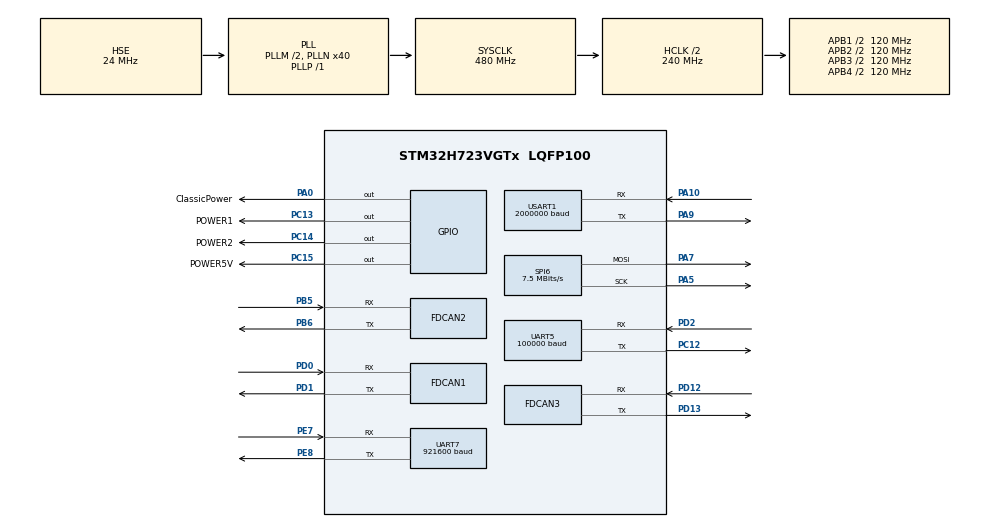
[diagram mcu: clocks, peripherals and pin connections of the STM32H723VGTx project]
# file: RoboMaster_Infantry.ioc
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CORTEX_M7.CPU_DCache=Enabled
CORTEX_M7.CPU_ICache=Enabled
CORTEX_M7.MPU_Control=MPU_HFNMI_PRIVDEF_NONE
CORTEX_M7.default_mode_Activation=1
Dma.Request0=USART1_RX
Dma.Request1=USART1_TX
Dma.Request4=UART5_RX
Dma.Request5=UART7_RX
Dma.UART5_RX.4.Direction=DMA_PERIPH_TO_MEMORY
Dma.UART5_RX.4.EventEnable=DISABLE
Dma.UART5_RX.4.FIFOMode=DMA_FIFOMODE_DISABLE
Dma.UART5_RX.4.Instance=DMA1_Stream0
Dma.UART5_RX.4.MemDataAlignment=DMA_MDATAALIGN_BYTE
Dma.UART5_RX.4.MemInc=DMA_MINC_ENABLE
Dma.UART5_RX.4.Mode=DMA_NORMAL
Dma.UART5_RX.4.PeriphDataAlignment=DMA_PDATAALIGN_BYTE
Dma.UART5_RX.4.PeriphInc=DMA_PINC_DISABLE
Dma.UART5_RX.4.Polarity=HAL_DMAMUX_REQ_GEN_RISING
Dma.UART5_RX.4.Priority=DMA_PRIORITY_LOW
Dma.UART5_RX.4.RequestNumber=1
Dma.UART5_RX.4.SignalID=NONE
Dma.UART5_RX.4.SyncEnable=DISABLE
Dma.UART5_RX.4.SyncPolarity=HAL_DMAMUX_SYNC_NO_EVENT
Dma.UART5_RX.4.SyncRequestNumber=1
Dma.UART5_RX.4.SyncSignalID=NONE
Dma.UART7_RX.5.Direction=DMA_PERIPH_TO_MEMORY
Dma.UART7_RX.5.EventEnable=DISABLE
Dma.UART7_RX.5.FIFOMode=DMA_FIFOMODE_DISABLE
Dma.UART7_RX.5.Instance=DMA1_Stream1
Dma.UART7_RX.5.MemDataAlignment=DMA_MDATAALIGN_BYTE
Dma.UART7_RX.5.MemInc=DMA_MINC_ENABLE
Dma.UART7_RX.5.Mode=DMA_NORMAL
Dma.UART7_RX.5.PeriphDataAlignment=DMA_PDATAALIGN_BYTE
Dma.UART7_RX.5.PeriphInc=DMA_PINC_DISABLE
Dma.UART7_RX.5.Polarity=HAL_DMAMUX_REQ_GEN_RISING
Dma.UART7_RX.5.Priority=DMA_PRIORITY_LOW
Dma.UART7_RX.5.RequestNumber=1
Dma.UART7_RX.5.SignalID=NONE
Dma.UART7_RX.5.SyncEnable=DISABLE
Dma.UART7_RX.5.SyncPolarity=HAL_DMAMUX_SYNC_NO_EVENT
Dma.UART7_RX.5.SyncRequestNumber=1
Dma.UART7_RX.5.SyncSignalID=NONE
Dma.USART1_RX.0.Direction=DMA_PERIPH_TO_MEMORY
Dma.USART1_RX.0.EventEnable=DISABLE
Dma.USART1_RX.0.FIFOMode=DMA_FIFOMODE_DISABLE
Dma.USART1_RX.0.Instance=DMA1_Stream3
Dma.USART1_RX.0.MemDataAlignment=DMA_MDATAALIGN_BYTE
Dma.USART1_RX.0.MemInc=DMA_MINC_ENABLE
Dma.USART1_RX.0.Mode=DMA_NORMAL
Dma.USART1_RX.0.PeriphDataAlignment=DMA_PDATAALIGN_BYTE
Dma.USART1_RX.0.PeriphInc=DMA_PINC_DISABLE
Dma.USART1_RX.0.Polarity=HAL_DMAMUX_REQ_GEN_RISING
Dma.USART1_RX.0.Priority=DMA_PRIORITY_LOW
Dma.USART1_RX.0.RequestNumber=1
Dma.USART1_RX.0.SignalID=NONE
Dma.USART1_RX.0.SyncEnable=DISABLE
Dma.USART1_RX.0.SyncPolarity=HAL_DMAMUX_SYNC_NO_EVENT
Dma.USART1_RX.0.SyncRequestNumber=1
Dma.USART1_RX.0.SyncSignalID=NONE
Dma.USART1_TX.1.Direction=DMA_MEMORY_TO_PERIPH
Dma.USART1_TX.1.EventEnable=DISABLE
Dma.USART1_TX.1.FIFOMode=DMA_FIFOMODE_DISABLE
Dma.USART1_TX.1.Instance=DMA1_Stream4
Dma.USART1_TX.1.MemDataAlignment=DMA_MDATAALIGN_BYTE
Dma.USART1_TX.1.MemInc=DMA_MINC_ENABLE
Dma.USART1_TX.1.Mode=DMA_NORMAL
Dma.USART1_TX.1.PeriphDataAlignment=DMA_PDATAALIGN_BYTE
Dma.USART1_TX.1.PeriphInc=DMA_PINC_DISABLE
Dma.USART1_TX.1.Polarity=HAL_DMAMUX_REQ_GEN_RISING
Dma.USART1_TX.1.Priority=DMA_PRIORITY_LOW
Dma.USART1_TX.1.RequestNumber=1
Dma.USART1_TX.1.SignalID=NONE
Dma.USART1_TX.1.SyncEnable=DISABLE
Dma.USART1_TX.1.SyncPolarity=HAL_DMAMUX_SYNC_NO_EVENT
Dma.USART1_TX.1.SyncRequestNumber=1
Dma.USART1_TX.1.SyncSignalID=NONE
FDCAN1.AutoRetransmission=DISABLE
FDCAN1.CalculateBaudRateNominal=1000000
FDCAN1.CalculateTimeBitNominal=1000
FDCAN1.CalculateTimeQuantumNominal=12.5
FDCAN1.DataPrescaler=1
FDCAN1.DataSyncJumpWidth=3
FDCAN1.DataTimeSeg1=12
FDCAN1.DataTimeSeg2=3
FDCAN1.ExtFiltersNbr=0
FDCAN1.FrameFormat=FDCAN_FRAME_FD_BRS
FDCAN1.MessageRAMOffset=0
FDCAN1.NominalPrescaler=1
FDCAN1.NominalSyncJumpWidth=20
FDCAN1.NominalTimeSeg1=59
FDCAN1.NominalTimeSeg2=20
FDCAN1.ProtocolException=ENABLE
FDCAN1.RxBuffersNbr=0
FDCAN1.RxFifo0ElmtsNbr=40
FDCAN1.RxFifo1ElmtsNbr=0
FDCAN1.StdFiltersNbr=1
FDCAN1.TxBuffersNbr=0
FDCAN1.TxEventsNbr=40
FDCAN1.TxFifoQueueElmtsNbr=40
FDCAN2.AutoRetransmission=ENABLE
FDCAN2.CalculateBaudRateNominal=1000000
FDCAN2.CalculateTimeBitNominal=1000
FDCAN2.CalculateTimeQuantumNominal=12.5
FDCAN2.DataPrescaler=1
FDCAN2.DataSyncJumpWidth=3
FDCAN2.DataTimeSeg1=12
FDCAN2.DataTimeSeg2=3
FDCAN2.ExtFiltersNbr=0
FDCAN2.FrameFormat=FDCAN_FRAME_FD_BRS
FDCAN2.MessageRAMOffset=720
FDCAN2.NominalPrescaler=1
FDCAN2.NominalSyncJumpWidth=20
FDCAN2.NominalTimeSeg1=59
FDCAN2.NominalTimeSeg2=20
FDCAN2.ProtocolException=ENABLE
FDCAN2.RxBuffersNbr=0
FDCAN2.RxFifo0ElmtsNbr=20
FDCAN2.RxFifo1ElmtsNbr=20
FDCAN2.StdFiltersNbr=3
FDCAN2.TxBuffersNbr=0
FDCAN2.TxEventsNbr=40
FDCAN2.TxFifoQueueElmtsNbr=40
FDCAN3.AutoRetransmission=DISABLE
FDCAN3.CalculateBaudRateNominal=1000000
FDCAN3.CalculateTimeBitNominal=1000
FDCAN3.CalculateTimeQuantumNominal=12.5
FDCAN3.DataPrescaler=1
FDCAN3.DataSyncJumpWidth=3
FDCAN3.DataTimeSeg1=12
FDCAN3.DataTimeSeg2=3
FDCAN3.ExtFiltersNbr=4
FDCAN3.FrameFormat=FDCAN_FRAME_FD_BRS
FDCAN3.MessageRAMOffset=1440
FDCAN3.NominalPrescaler=1
FDCAN3.NominalSyncJumpWidth=20
FDCAN3.NominalTimeSeg1=59
FDCAN3.NominalTimeSeg2=20
FDCAN3.ProtocolException=DISABLE
FDCAN3.RxBuffersNbr=2
FDCAN3.RxFifo0ElmtsNbr=8
FDCAN3.RxFifo1ElmtsNbr=8
FDCAN3.StdFiltersNbr=4
FDCAN3.TxBuffersNbr=8
FDCAN3.TxEventsNbr=8
FDCAN3.TxFifoQueueElmtsNbr=8
FREERTOS.Tasks01=Default,47,128,Defalut_Task,As weak,NULL,Dynamic,NULL,NULL
FREERTOS.configENABLE_FPU=1
FREERTOS.configTOTAL_HEAP_SIZE=40960
Mcu.Family=STM32H7
Mcu.Name=STM32H723VGTx
Mcu.Package=LQFP100
NVIC.DMA1_Stream0_IRQn=true\:5\:0\:false\:false\:true\:true\:false\:true\:true
NVIC.DMA1_Stream1_IRQn=true\:5\:0\:false\:false\:true\:true\:false\:true\:true
NVIC.DMA1_Stream3_IRQn=true\:5\:0\:false\:false\:true\:true\:false\:true\:true
NVIC.DMA1_Stream4_IRQn=true\:5\:0\:false\:false\:true\:false\:false\:true\:true
NVIC.FDCAN1_IT0_IRQn=true\:5\:0\:false\:false\:true\:true\:true\:true\:true
NVIC.FDCAN1_IT1_IRQn=true\:5\:0\:false\:false\:true\:true\:true\:true\:true
NVIC.FDCAN2_IT0_IRQn=true\:5\:0\:false\:false\:true\:true\:true\:true\:true
NVIC.FDCAN2_IT1_IRQn=true\:5\:0\:false\:false\:true\:true\:true\:true\:true
NVIC.FDCAN3_IT0_IRQn=true\:5\:0\:false\:false\:true\:true\:true\:true\:true
NVIC.FDCAN3_IT1_IRQn=true\:5\:0\:false\:false\:true\:true\:true\:true\:true
NVIC.FDCAN_CAL_IRQn=true\:5\:0\:false\:false\:true\:true\:true\:true\:true
NVIC.PriorityGroup=NVIC_PRIORITYGROUP_4
NVIC.TIM2_IRQn=true\:15\:0\:false\:false\:true\:false\:false\:true\:true
NVIC.TimeBase=TIM2_IRQn
NVIC.TimeBaseIP=TIM2
NVIC.UART5_IRQn=true\:5\:0\:false\:false\:true\:true\:true\:true\:true
NVIC.UART7_IRQn=true\:5\:0\:false\:false\:true\:true\:true\:true\:true
NVIC.USART1_IRQn=true\:5\:0\:false\:false\:true\:true\:false\:true\:true
PA0.GPIO_Label=ClassicPower
PA0.Signal=GPIO_Output
PA10.Mode=Asynchronous
PA10.Signal=USART1_RX
PA13(JTMS/SWDIO).Mode=Serial_Wire
PA13(JTMS/SWDIO).Signal=DEBUG_JTMS-SWDIO
PA14(JTCK/SWCLK).Mode=Serial_Wire
PA14(JTCK/SWCLK).Signal=DEBUG_JTCK-SWCLK
PA5.Mode=TX_Only_Simplex_Unidirect_Master
PA5.Signal=SPI6_SCK
PA7.Mode=TX_Only_Simplex_Unidirect_Master
PA7.Signal=SPI6_MOSI
PA9.Mode=Asynchronous
PA9.Signal=USART1_TX
PB13.GPIO_Speed=GPIO_SPEED_FREQ_VERY_HIGH
PB5.Mode=FDCAN_Activate
PB5.Signal=FDCAN2_RX
PB6.Mode=FDCAN_Activate
PB6.Signal=FDCAN2_TX
PC12.Mode=Asynchronous
PC12.Signal=UART5_TX
PC13.GPIO_Label=POWER1
PC13.PinState=GPIO_PIN_SET
PC13.Signal=GPIO_Output
PC14-OSC32_IN.GPIO_Label=POWER2
PC14-OSC32_IN.PinState=GPIO_PIN_SET
PC14-OSC32_IN.Signal=GPIO_Output
PC15-OSC32_OUT.GPIO_Label=POWER5V
PC15-OSC32_OUT.PinState=GPIO_PIN_SET
PC15-OSC32_OUT.Signal=GPIO_Output
PD0.Mode=FDCAN_Activate
PD0.Signal=FDCAN1_RX
PD1.Mode=FDCAN_Activate
PD1.Signal=FDCAN1_TX
PD12.Mode=FDCAN_Activate
PD12.Signal=FDCAN3_RX
PD13.Mode=FDCAN_Activate
PD13.Signal=FDCAN3_TX
PD2.GPIO_ModeDefaultPP=GPIO_MODE_AF_PP
PD2.GPIO_PuPd=GPIO_NOPULL
PD2.GPIO_Speed=GPIO_SPEED_FREQ_LOW
PD2.Mode=Asynchronous
PD2.Signal=UART5_RX
PE2.Signal=USART10_RX
PE3.Signal=USART10_TX
PE7.Mode=Asynchronous
PE7.Signal=UART7_RX
PE8.Mode=Asynchronous
PE8.Signal=UART7_TX
PH0-OSC_IN.Mode=HSE-External-Oscillator
PH0-OSC_IN.Signal=RCC_OSC_IN
PH1-OSC_OUT.Mode=HSE-External-Oscillator
PH1-OSC_OUT.Signal=RCC_OSC_OUT
ProjectManager.HeapSize=0x200
ProjectManager.StackSize=0x400
ProjectManager.TargetToolchain=CMake
RCC.ADCFreq_Value=480000000
RCC.APB1Freq_Value=120000000
RCC.APB2Freq_Value=120000000
RCC.APB3Freq_Value=120000000
RCC.APB4Freq_Value=120000000
RCC.CortexFreq_Value=480000000
RCC.D1PPRE=RCC_APB3_DIV2
RCC.D2PPRE1=RCC_APB1_DIV2
RCC.D2PPRE2=RCC_APB2_DIV2
RCC.D3PPRE=RCC_APB4_DIV2
RCC.DIVM1=2
RCC.DIVM2=2
RCC.DIVM3=2
RCC.DIVN1=40
RCC.DIVN2=40
RCC.DIVN3=40
RCC.DIVP1=1
RCC.DIVP2=1
RCC.DIVP3=1
RCC.DIVQ2=6
RCC.DIVQ3=6
RCC.FDCANCLockSelection=RCC_FDCANCLKSOURCE_PLL2
RCC.HCLKFreq_Value=240000000
RCC.HPRE=RCC_HCLK_DIV2
RCC.HSE_VALUE=24000000
RCC.PLLFRACN=0
RCC.PLLSourceVirtual=RCC_PLLSOURCE_HSE
RCC.SYSCLKFreq_VALUE=480000000
RCC.SYSCLKSource=RCC_SYSCLKSOURCE_PLLCLK
RCC.USBFreq_Value=240000000
SPI6.BaudRatePrescaler=SPI_BAUDRATEPRESCALER_16
SPI6.CLKPhase=SPI_PHASE_2EDGE
SPI6.CalculateBaudRate=7.5 MBits/s
SPI6.DataSize=SPI_DATASIZE_8BIT
SPI6.Direction=SPI_DIRECTION_2LINES_TXONLY
SPI6.Mode=SPI_MODE_MASTER
SPI6.VirtualType=VM_MASTER
TIM5.Prescaler=240-1
UART5.BaudRate=100000
UART5.Parity=PARITY_EVEN
UART5.StopBits=UART_STOPBITS_2
UART5.WordLength=WORDLENGTH_9B
UART7.BaudRate=921600
USART1.BaudRate=2000000
USART1.VirtualMode-Asynchronous=VM_ASYNC
VP_FREERTOS_VS_CMSIS_V2.Mode=CMSIS_V2
VP_MEMORYMAP_VS_MEMORYMAP.Mode=CurAppReg
VP_SYS_VS_tim2.Mode=TIM2
VP_TIM5_VS_ClockSourceINT.Mode=Internal
board=custom

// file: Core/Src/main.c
/* USER CODE BEGIN Header */
/**
 ******************************************************************************
 * @file           : main.c
 * @brief          : Main program body
 ******************************************************************************
 * @attention
 *
 * Copyright (c) 2025 STMicroelectronics.
 * All rights reserved.
 *
 * This software is licensed under terms that can be found in the LICENSE file
 * in the root directory of this software component.
 * If no LICENSE file comes with this software, it is provided AS-IS.
 *
 ******************************************************************************
 */
/* USER CODE END Header */
#include "main.h"
#include "cmsis_os.h"
#include "dma.h"
#include "fdcan.h"
#include "spi.h"
#include "tim.h"
#include "usart.h"
#include "gpio.h"

/* USER CODE BEGIN Includes */
#include "FreeRTOS.h"
#include "event_groups.h"
#include "task.h"
#include "../BSP/bsp_UART.h"
#include "FreeRTOS.h"
#include "WS2812.h"
#include "app_Task.hpp"
#include "app_main.hpp"
#include "bsp_fdcan.h"
#include "bsp_Interrupt.h"
#include <stdarg.h>
#include <stdint.h>
#include <stdio.h>
#include <string.h>
#include "Hipnuv_hi14.h"

/* USER CODE END Includes */

/* USER CODE BEGIN PTD */
#define USE_CMSIS_OS 0
#define USE_CACHE_MPU 0
/* USER CODE END PTD */

/* USER CODE BEGIN PV */
__attribute__((section(".sram4"))) uint8_t rx_buff[BUFF_SIZE];
/* USER CODE END PV */

void SystemClock_Config(void);
void PeriphCommonClock_Config(void);
static void MPU_Config(void);
void MX_FREERTOS_Init(void);

/* USER CODE BEGIN 0 */
uint32_t INS_time = 0;
/* USER CODE END 0 */

int main(void)
{

  /* USER CODE BEGIN 1 */
  if (USE_CACHE_MPU) {
  /* USER CODE END 1 */

  /* MPU Configuration--------------------------------------------------------*/
  MPU_Config();

  /* Enable the CPU Cache */

  /* Enable I-Cache---------------------------------------------------------*/
  SCB_EnableICache();

  /* Enable D-Cache---------------------------------------------------------*/
  SCB_EnableDCache();

  /* MCU Configuration--------------------------------------------------------*/

  /* Reset of all peripherals, Initializes the Flash interface and the Systick. */
  HAL_Init();

  /* USER CODE BEGIN Init */
  }
  HAL_Init();
  SCB_EnableDCache();
  SCB_EnableICache();
  /* USER CODE END Init */

  /* Configure the system clock */
  SystemClock_Config();

  /* Configure the peripherals common clocks */
  PeriphCommonClock_Config();

  /* Initialize all configured peripherals */
  MX_GPIO_Init();
  MX_DMA_Init();
  MX_FDCAN1_Init();
  MX_FDCAN2_Init();
  MX_FDCAN3_Init();
  MX_USART1_UART_Init();
  MX_UART5_Init();
  MX_TIM5_Init();
  MX_SPI6_Init();
  MX_UART7_Init();
  /* USER CODE BEGIN 2 */
  HAL_GPIO_WritePin(ClassicPower_GPIO_Port, ClassicPower_Pin, GPIO_PIN_RESET);
  HAL_Delay(2000);
  uart_print_blocking("初始化开始\r\n");
  // 初始化SBUS环形缓冲区
  SBUS_RingBuffer_Init();
  SCB_InvalidateDCache_by_Addr((void *)rx_buff, BUFF_SIZE);
  // TIM5以1MHx计数
  HAL_TIM_Base_Start(&htim5);
  memset(&Hipnuc_HI14, 0, sizeof(Hipnuc_HI14));
  HAL_UARTEx_ReceiveToIdle_DMA(&huart7, hi14_dma_rx_buf, UART_RX_BUF_SIZE);
  if (huart7.hdmarx != NULL) {
    __HAL_DMA_DISABLE_IT(huart7.hdmarx, DMA_IT_HT);
  }
  uart_print_blocking("初始化完毕\r\n");
  app_main();
  if (USE_CMSIS_OS) {
  /* USER CODE END 2 */

  /* Init scheduler */
  osKernelInitialize();  /* Call init function for freertos objects (in cmsis_os2.c) */
  MX_FREERTOS_Init();

  /* Start scheduler */
  osKernelStart();

  /* We should never get here as control is now taken by the scheduler */

  /* Infinite loop */
  /* USER CODE BEGIN WHILE */
  }
  uart_print("进入主循环\r\n");
  while (1) {
    // 从环形缓冲区解析SBUS数据帧

    // 每500ms打印一次通道数据
    uart_print("CH1:%d, CH2:%d, CH3:%d, CH4:%d, CH5:%d, CH6:%d, CH7:%d, "
               "CH8:%d,\r\n",
               SBUS_Data.Channel[0], SBUS_Data.Channel[1], SBUS_Data.Channel[2],
               SBUS_Data.Channel[3], SBUS_Data.Channel[4], SBUS_Data.Channel[5],
               SBUS_Data.Channel[6], SBUS_Data.Channel[7]);

    // // 每2秒打印一次环形缓冲区状态
    // if (debug_cnt++ % 20 == 0) {
    //   SBUS_Debug_Print(&sbus_ring_buffer);
    // }

    HAL_Delay(10);
    /* USER CODE END WHILE */

  }
}

void SystemClock_Config(void)
{
  RCC_OscInitTypeDef RCC_OscInitStruct = {0};
  RCC_ClkInitTypeDef RCC_ClkInitStruct = {0};

  /** Supply configuration update enable
  */
  HAL_PWREx_ConfigSupply(PWR_LDO_SUPPLY);

  /** Configure the main internal regulator output voltage
  */
  __HAL_PWR_VOLTAGESCALING_CONFIG(PWR_REGULATOR_VOLTAGE_SCALE0);

  while(!__HAL_PWR_GET_FLAG(PWR_FLAG_VOSRDY)) {}

  /** Initializes the RCC Oscillators according to the specified parameters
  * in the RCC_OscInitTypeDef structure.
  */
  RCC_OscInitStruct.OscillatorType = RCC_OSCILLATORTYPE_HSE;
  RCC_OscInitStruct.HSEState = RCC_HSE_ON;
  RCC_OscInitStruct.PLL.PLLState = RCC_PLL_ON;
  RCC_OscInitStruct.PLL.PLLSource = RCC_PLLSOURCE_HSE;
  RCC_OscInitStruct.PLL.PLLM = 2;
  RCC_OscInitStruct.PLL.PLLN = 40;
  RCC_OscInitStruct.PLL.PLLP = 1;
  RCC_OscInitStruct.PLL.PLLQ = 2;
  RCC_OscInitStruct.PLL.PLLR = 2;
  RCC_OscInitStruct.PLL.PLLRGE = RCC_PLL1VCIRANGE_3;
  RCC_OscInitStruct.PLL.PLLVCOSEL = RCC_PLL1VCOWIDE;
  RCC_OscInitStruct.PLL.PLLFRACN = 0;
  if (HAL_RCC_OscConfig(&RCC_OscInitStruct) != HAL_OK)
  {
    Error_Handler();
  }

  /** Initializes the CPU, AHB and APB buses clocks
  */
  RCC_ClkInitStruct.ClockType = RCC_CLOCKTYPE_HCLK|RCC_CLOCKTYPE_SYSCLK
                              |RCC_CLOCKTYPE_PCLK1|RCC_CLOCKTYPE_PCLK2
                              |RCC_CLOCKTYPE_D3PCLK1|RCC_CLOCKTYPE_D1PCLK1;
  RCC_ClkInitStruct.SYSCLKSource = RCC_SYSCLKSOURCE_PLLCLK;
  RCC_ClkInitStruct.SYSCLKDivider = RCC_SYSCLK_DIV1;
  RCC_ClkInitStruct.AHBCLKDivider = RCC_HCLK_DIV2;
  RCC_ClkInitStruct.APB3CLKDivider = RCC_APB3_DIV2;
  RCC_ClkInitStruct.APB1CLKDivider = RCC_APB1_DIV2;
  RCC_ClkInitStruct.APB2CLKDivider = RCC_APB2_DIV2;
  RCC_ClkInitStruct.APB4CLKDivider = RCC_APB4_DIV2;

  if (HAL_RCC_ClockConfig(&RCC_ClkInitStruct, FLASH_LATENCY_3) != HAL_OK)
  {
    Error_Handler();
  }
}

void PeriphCommonClock_Config(void)
{
  RCC_PeriphCLKInitTypeDef PeriphClkInitStruct = {0};

  /** Initializes the peripherals clock
  */
  PeriphClkInitStruct.PeriphClockSelection = RCC_PERIPHCLK_FDCAN;
  PeriphClkInitStruct.PLL2.PLL2M = 2;
  PeriphClkInitStruct.PLL2.PLL2N = 40;
  PeriphClkInitStruct.PLL2.PLL2P = 1;
  PeriphClkInitStruct.PLL2.PLL2Q = 6;
  PeriphClkInitStruct.PLL2.PLL2R = 2;
  PeriphClkInitStruct.PLL2.PLL2RGE = RCC_PLL2VCIRANGE_3;
  PeriphClkInitStruct.PLL2.PLL2VCOSEL = RCC_PLL2VCOWIDE;
  PeriphClkInitStruct.PLL2.PLL2FRACN = 0;
  PeriphClkInitStruct.FdcanClockSelection = RCC_FDCANCLKSOURCE_PLL2;
  if (HAL_RCCEx_PeriphCLKConfig(&PeriphClkInitStruct) != HAL_OK)
  {
    Error_Handler();
  }
}

 /* MPU Configuration */

void MPU_Config(void)
{
  MPU_Region_InitTypeDef MPU_InitStruct = {0};

  /* Disables the MPU */
  HAL_MPU_Disable();

  /** Initializes and configures the Region and the memory to be protected
  */
  MPU_InitStruct.Enable = MPU_REGION_ENABLE;
  MPU_InitStruct.Number = MPU_REGION_NUMBER0;
  MPU_InitStruct.BaseAddress = 0x0;
  MPU_InitStruct.Size = MPU_REGION_SIZE_4GB;
  MPU_InitStruct.SubRegionDisable = 0x87;
  MPU_InitStruct.TypeExtField = MPU_TEX_LEVEL0;
  MPU_InitStruct.AccessPermission = MPU_REGION_NO_ACCESS;
  MPU_InitStruct.DisableExec = MPU_INSTRUCTION_ACCESS_DISABLE;
  MPU_InitStruct.IsShareable = MPU_ACCESS_SHAREABLE;
  MPU_InitStruct.IsCacheable = MPU_ACCESS_NOT_CACHEABLE;
  MPU_InitStruct.IsBufferable = MPU_ACCESS_NOT_BUFFERABLE;

  HAL_MPU_ConfigRegion(&MPU_InitStruct);
  /* Enables the MPU */
  HAL_MPU_Enable(MPU_HFNMI_PRIVDEF_NONE);

}

void HAL_TIM_PeriodElapsedCallback(TIM_HandleTypeDef *htim)
{
  if (htim->Instance == TIM2)
  {
    HAL_IncTick();
  }
}

void Error_Handler(void)
{
  __disable_irq();
  while (1) {
  }
}
#ifdef USE_FULL_ASSERT
/**
  * @brief  Reports the name of the source file and the source line number
  *         where the assert_param error has occurred.
  * @param  file: pointer to the source file name
  * @param  line: assert_param error line source number
  * @retval None
  */
void assert_failed(uint8_t *file, uint32_t line)
{
  /* USER CODE BEGIN 6 */
  /* User can add his own implementation to report the file name and line
     number, ex: printf("Wrong parameters value: file %s on line %d\r\n", file,
     line) */
  /* USER CODE END 6 */
}
#endif /* USE_FULL_ASSERT */

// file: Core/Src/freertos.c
/* USER CODE BEGIN Header */
/**
  ******************************************************************************
  * File Name          : freertos.c
  * Description        : Code for freertos applications
  ******************************************************************************
  * @attention
  *
  * Copyright (c) 2025 STMicroelectronics.
  * All rights reserved.
  *
  * This software is licensed under terms that can be found in the LICENSE file
  * in the root directory of this software component.
  * If no LICENSE file comes with this software, it is provided AS-IS.
  *
  ******************************************************************************
  */
/* USER CODE END Header */

#include "FreeRTOS.h"
#include "task.h"
#include "main.h"
#include "cmsis_os.h"

/* Definitions for Default */
osThreadId_t DefaultHandle;
const osThreadAttr_t Default_attributes = {
  .name = "Default",
  .stack_size = 128 * 4,
  .priority = (osPriority_t) osPriorityHigh7,
};

void Defalut_Task(void *argument);

void MX_FREERTOS_Init(void); /* (MISRA C 2004 rule 8.1) */

void MX_FREERTOS_Init(void) {

  /* Create the thread(s) */
  /* creation of Default */
  DefaultHandle = osThreadNew(Defalut_Task, NULL, &Default_attributes);

}

__weak void Defalut_Task(void *argument)
{
  for(;;)
  {
    osDelay(1);
  }
}
